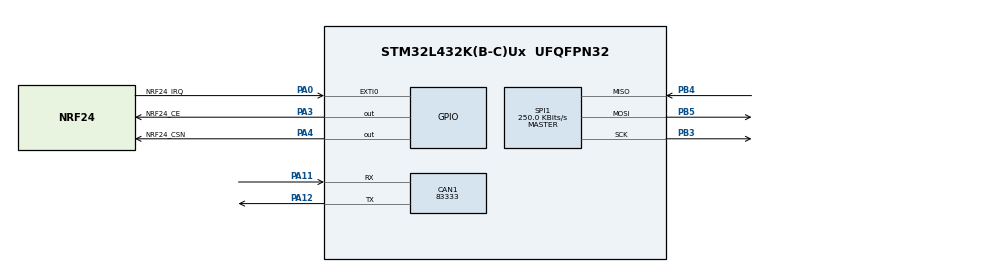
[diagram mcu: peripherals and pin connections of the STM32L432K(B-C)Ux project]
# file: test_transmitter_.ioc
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Mcu.Family=STM32L4
RCC.MSI_VALUE=4000000
SPI1.VirtualType=VM_MASTER
CAN1.CalculateBaudRate=83333
PA0.GPIO_Label=NRF24_IRQ
PA11.Mode=CAN_Activate
ProjectManager.StackSize=0x400
PB3\ (JTDO-TRACESWO).Signal=SPI1_SCK
PA12.Signal=CAN1_TX
ProjectManager.TargetToolchain=STM32CubeIDE
SPI1.Direction=SPI_DIRECTION_2LINES
SPI1.CalculateBaudRate=250.0 KBits/s
RCC.LSE_VALUE=32768
RCC.HSE_VALUE=8000000
board=custom
RCC.VCOOutputFreq_Value=32000000
SPI1.Mode=SPI_MODE_MASTER
PB3\ (JTDO-TRACESWO).Mode=Full_Duplex_Master
PB5.Mode=Full_Duplex_Master
SPI1.DataSize=SPI_DATASIZE_8BIT
PB4\ (NJTRST).Mode=Full_Duplex_Master
Mcu.Name=STM32L432K(B-C)Ux
PA0.Signal=GPXTI0
NVIC.EXTI0_IRQn=true\:0\:0\:false\:false\:true\:true\:true
PA4.Signal=GPIO_Output
PB5.Signal=SPI1_MOSI
Mcu.Package=UFQFPN32
PA12.Mode=CAN_Activate
PA11.Signal=CAN1_RX
ProjectManager.HeapSize=0x200
RCC.HSI_VALUE=16000000
NVIC.PriorityGroup=NVIC_PRIORITYGROUP_4
SPI1.BaudRatePrescaler=SPI_BAUDRATEPRESCALER_16
CAN1.CalculateTimeBit=12000.00
PA4.GPIO_Label=NRF24_CSN
NVIC.CAN1_RX0_IRQn=true\:0\:0\:false\:false\:true\:true\:true
RCC.HSI48_VALUE=48000000
PA3.GPIO_Label=NRF24_CE
CAN1.CalculateTimeQuantum=4000.0
PA3.Signal=GPIO_Output
PB4\ (NJTRST).Signal=SPI1_MISO

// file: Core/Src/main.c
/* USER CODE BEGIN Header */
/**
  ******************************************************************************
  * @file           : main.c
  * @brief          : Main program body
  ******************************************************************************
  * @attention
  *
  * <h2><center>&copy; Copyright (c) 2021 STMicroelectronics.
  * All rights reserved.</center></h2>
  *
  * This software component is licensed by ST under BSD 3-Clause license,
  * the "License"; You may not use this file except in compliance with the
  * License. You may obtain a copy of the License at:
  *                        opensource.org/licenses/BSD-3-Clause
  *
  ******************************************************************************
  */
/* USER CODE END Header */
#include "main.h"
#include "can.h"
#include "spi.h"
#include "gpio.h"

/* USER CODE BEGIN Includes */
#include "stdio.h"
#include "nRF24/nRF24.h"
#include "nrF24/nRF24_Defs.h"

#define MESSAGE_BUFF_LEN 33 // 32 payload + \0
/* USER CODE END Includes */

/* USER CODE BEGIN PD */

//#define MESSAGE_BUFFER_LENGTH 33 //32 do payload'u + 1 bo \0 <- potrzebne jedynie do bufora kołowego
/* USER CODE END PD */

/* USER CODE BEGIN PV */

volatile uint8_t nrf24_rxflag,nrf24_txflag,nrf24_mrflag;
uint8_t Nrf24_Message[NRF24_PAYLOAD_SIZE];
uint8_t Message[MESSAGE_BUFF_LEN];
uint8_t MessageLength; // potrzebny do dynamicznego payloadu
uint32_t numbersToSend[]  = {1, 12, 123, 1234, 12345, 123456, 1234567, 12345678, 123456789};
/* USER CODE END PV */

void SystemClock_Config(void);

/* USER CODE BEGIN 0 */
static void MX_NVIC_Init(void); // do przerwań
/* Deklaracja zmiennych do CAN */
CAN_TxHeaderTypeDef TxHeader;
CAN_RxHeaderTypeDef RxHeader;

uint8_t txData[8];
uint8_t rxData[8];

uint32_t TxMailbox;
/* CAN - nadawanie */
void HAL_GPIO_EXTI_Callback(uint16_t GPIO_Pin)
 {
	 txData[0] = 100;

	 HAL_CAN_AddTxMessage(&hcan1, &TxHeader, txData[0], &TxMailbox);
 }
/* Pobieranie danych z CAN(będzie do bufora) */
void HAL_CAN_RxFifo0MsgPendingCallback(CAN_HandleTypeDef *hcan)
{

	HAL_CAN_GetRxMessage(&hcan1, CAN_RX_FIFO0, &RxHeader, rxData);
}
/* USER CODE END 0 */

int main(void)
{

  /* MCU Configuration--------------------------------------------------------*/

  /* Reset of all peripherals, Initializes the Flash interface and the Systick. */
  HAL_Init();

  /* Configure the system clock */
  SystemClock_Config();

  /* Initialize all configured peripherals */
  MX_GPIO_Init();
  MX_SPI1_Init();
  MX_CAN1_Init();
  /* USER CODE BEGIN 2 */
  /* Inicjalizacja CAN  */
  HAL_CAN_Start(&hcan1);
  HAL_CAN_ActivateNotification(&hcan1, CAN_IT_RX_FIFO0_MSG_PENDING);

  TxHeader.DLC = 2; //ile danych
  TxHeader.IDE = CAN_ID_STD;
  TxHeader.RTR = CAN_RTR_DATA;
  TxHeader.StdId = 0x446; //id

  /* przerwania */

  nRF24_Init(&hspi1);
  nRF24_SetTXAddress("Odb");
  nRF24_SetRXAddress(0, "Nad");
  nRF24_TX_Mode();
  uint8_t i;

  /* Bufor dla CAN (będzie troche lepszy) */

  unsigned long CANbuffer[3] = {0x00000000,0x00000000,0x00000000}; // na trzy najbliższe ramki
  /* USER CODE END 2 */

  /* Infinite loop */
  /* USER CODE BEGIN WHILE */
  while (1)
  {
	  /* Wysyłanie danych do NRF(będzie pobieranie z bufora) */
	  	  for(i=0; i<9; i++)
	  	  {
	  		  MessageLength = sprintf(Message, "%d", numbersToSend[i] );
	  		  nRF24_SendPacket(Message, MessageLength);
	  		  HAL_Delay(1000);
	  	  }
    /* USER CODE END WHILE */

  }
}

void SystemClock_Config(void)
{
  RCC_OscInitTypeDef RCC_OscInitStruct = {0};
  RCC_ClkInitTypeDef RCC_ClkInitStruct = {0};

  /** Initializes the RCC Oscillators according to the specified parameters
  * in the RCC_OscInitTypeDef structure.
  */
  RCC_OscInitStruct.OscillatorType = RCC_OSCILLATORTYPE_MSI;
  RCC_OscInitStruct.MSIState = RCC_MSI_ON;
  RCC_OscInitStruct.MSICalibrationValue = 0;
  RCC_OscInitStruct.MSIClockRange = RCC_MSIRANGE_6;
  RCC_OscInitStruct.PLL.PLLState = RCC_PLL_NONE;
  if (HAL_RCC_OscConfig(&RCC_OscInitStruct) != HAL_OK)
  {
    Error_Handler();
  }
  /** Initializes the CPU, AHB and APB buses clocks
  */
  RCC_ClkInitStruct.ClockType = RCC_CLOCKTYPE_HCLK|RCC_CLOCKTYPE_SYSCLK
                              |RCC_CLOCKTYPE_PCLK1|RCC_CLOCKTYPE_PCLK2;
  RCC_ClkInitStruct.SYSCLKSource = RCC_SYSCLKSOURCE_MSI;
  RCC_ClkInitStruct.AHBCLKDivider = RCC_SYSCLK_DIV1;
  RCC_ClkInitStruct.APB1CLKDivider = RCC_HCLK_DIV1;
  RCC_ClkInitStruct.APB2CLKDivider = RCC_HCLK_DIV1;

  if (HAL_RCC_ClockConfig(&RCC_ClkInitStruct, FLASH_LATENCY_0) != HAL_OK)
  {
    Error_Handler();
  }
  /** Configure the main internal regulator output voltage
  */
  if (HAL_PWREx_ControlVoltageScaling(PWR_REGULATOR_VOLTAGE_SCALE1) != HAL_OK)
  {
    Error_Handler();
  }
}

void Error_Handler(void)
{
  __disable_irq();
  while (1)
  {
  }
}

/************************ (C) COPYRIGHT STMicroelectronics *****END OF FILE****/
